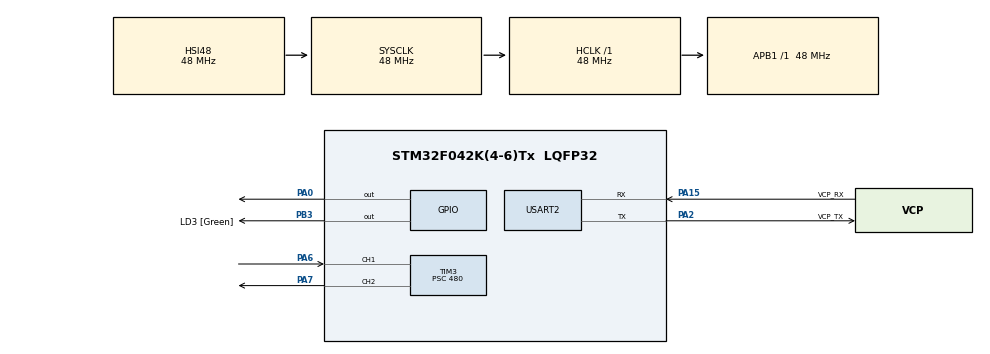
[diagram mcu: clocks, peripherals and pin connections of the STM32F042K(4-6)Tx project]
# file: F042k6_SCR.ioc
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Mcu.Family=STM32F0
Mcu.Name=STM32F042K(4-6)Tx
Mcu.Package=LQFP32
PA0.Signal=GPIO_Output
PA13.GPIO_Label=SWDIO
PA13.Mode=Serial_Wire
PA13.Signal=SYS_SWDIO
PA14.GPIO_Label=SWCLK
PA14.Mode=Serial_Wire
PA14.Signal=SYS_SWCLK
PA15.GPIO_Label=VCP_RX
PA15.Mode=Asynchronous
PA15.Signal=USART2_RX
PA2.GPIO_Label=VCP_TX
PA2.Mode=Asynchronous
PA2.Signal=USART2_TX
PA6.Signal=S_TIM3_CH1
PA7.Signal=S_TIM3_CH2
PB3.GPIO_Label=LD3 [Green]
PB3.Signal=GPIO_Output
PF0-OSC_IN.GPIO_Label=MCO
PF0-OSC_IN.Mode=HSE-External-Clock-Source
PF0-OSC_IN.Signal=RCC_OSC_IN
ProjectManager.HeapSize=0x200
ProjectManager.StackSize=0x400
ProjectManager.TargetToolchain=SW4STM32
RCC.AHBFreq_Value=48000000
RCC.APB1Freq_Value=48000000
RCC.APB1TimFreq_Value=48000000
RCC.HCLKFreq_Value=48000000
RCC.SYSCLKFreq_VALUE=48000000
RCC.SYSCLKSource=RCC_SYSCLKSOURCE_HSI48
SH.S_TIM3_CH1.0=TIM3_CH1,TriggerSource_TI1FP1
SH.S_TIM3_CH2.0=TIM3_CH2,PWM Generation2 CH2
TIM2.Period=1000
TIM2.Prescaler=480
TIM3.Channel-PWM\ Generation2\ CH2=TIM_CHANNEL_2
TIM3.OCPolarity_2=TIM_OCPOLARITY_LOW
TIM3.Period=830
TIM3.Prescaler=480
USART2.VirtualMode-Asynchronous=VM_ASYNC
VP_TIM2_VS_OPM.Mode=OPM_bit
VP_TIM3_VS_ControllerModeTrigger.Mode=Trigger Mode
VP_TIM3_VS_OPM.Mode=OPM_bit
board=NUCLEO-F042K6

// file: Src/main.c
/* USER CODE BEGIN Header */
/**
  ******************************************************************************
  * @file           : main.c
  * @brief          : Main program body
  ******************************************************************************
  * @attention
  *
  * <h2><center>&copy; Copyright (c) 2019 STMicroelectronics.
  * All rights reserved.</center></h2>
  *
  * This software component is licensed by ST under BSD 3-Clause license,
  * the "License"; You may not use this file except in compliance with the
  * License. You may obtain a copy of the License at:
  *                        opensource.org/licenses/BSD-3-Clause
  *
  ******************************************************************************
  */
/* USER CODE END Header */

#include "main.h"

TIM_HandleTypeDef htim2;
TIM_HandleTypeDef htim3;

UART_HandleTypeDef huart2;

void SystemClock_Config(void);
static void MX_GPIO_Init(void);
static void MX_TIM2_Init(void);
static void MX_TIM3_Init(void);
static void MX_USART2_UART_Init(void);

/* USER CODE BEGIN 0 */
int duty=1000;
int direction=1;
/* USER CODE END 0 */

int main(void)
{

  /* MCU Configuration--------------------------------------------------------*/

  /* Reset of all peripherals, Initializes the Flash interface and the Systick. */
	HAL_Init();

  /* Configure the system clock */
  SystemClock_Config();

  /* Initialize all configured peripherals */
  MX_GPIO_Init();
  MX_TIM2_Init();
  MX_TIM3_Init();
  MX_USART2_UART_Init();
  /* USER CODE BEGIN 2 */
  HAL_TIM_Base_Start(&htim3);
  //HAL_TIM_OnePulse_Start(&htim3,TIM_CHANNEL_2);

  HAL_TIM_PWM_Start(&htim3,TIM_CHANNEL_2);
  __HAL_TIM_SET_COMPARE(&htim3,TIM_CHANNEL_2,400);
  /* USER CODE END 2 */

  /* Infinite loop */
  /* USER CODE BEGIN WHILE */
  while (1)
  {
	  HAL_GPIO_WritePin(GPIOA,GPIO_PIN_0,0);
	  HAL_Delay(9);
	  HAL_GPIO_WritePin(GPIOA,GPIO_PIN_0,1);
	  HAL_Delay(0);
	  __HAL_TIM_SET_COMPARE(&htim3,TIM_CHANNEL_2,duty);

	  if(direction==1){
		  duty=duty+5;
	  }
	  else if(direction==0){
		  duty=duty-5;
	  }
	  if(duty>1000){direction=0;}
	  else if(duty<20){
		  direction=1;
	  }

    /* USER CODE END WHILE */

  }
}

void SystemClock_Config(void)
{
  RCC_OscInitTypeDef RCC_OscInitStruct = {0};
  RCC_ClkInitTypeDef RCC_ClkInitStruct = {0};

  /** Initializes the CPU, AHB and APB busses clocks
  */
  RCC_OscInitStruct.OscillatorType = RCC_OSCILLATORTYPE_HSI48;
  RCC_OscInitStruct.HSI48State = RCC_HSI48_ON;
  RCC_OscInitStruct.PLL.PLLState = RCC_PLL_NONE;
  if (HAL_RCC_OscConfig(&RCC_OscInitStruct) != HAL_OK)
  {
    Error_Handler();
  }
  /** Initializes the CPU, AHB and APB busses clocks
  */
  RCC_ClkInitStruct.ClockType = RCC_CLOCKTYPE_HCLK|RCC_CLOCKTYPE_SYSCLK
                              |RCC_CLOCKTYPE_PCLK1;
  RCC_ClkInitStruct.SYSCLKSource = RCC_SYSCLKSOURCE_HSI48;
  RCC_ClkInitStruct.AHBCLKDivider = RCC_SYSCLK_DIV1;
  RCC_ClkInitStruct.APB1CLKDivider = RCC_HCLK_DIV1;

  if (HAL_RCC_ClockConfig(&RCC_ClkInitStruct, FLASH_LATENCY_1) != HAL_OK)
  {
    Error_Handler();
  }
}

static void MX_TIM2_Init(void)
{

  htim2.Instance = TIM2;
  htim2.Init.Prescaler = 480;
  htim2.Init.CounterMode = TIM_COUNTERMODE_UP;
  htim2.Init.Period = 1000;
  htim2.Init.ClockDivision = TIM_CLOCKDIVISION_DIV1;
  htim2.Init.AutoReloadPreload = TIM_AUTORELOAD_PRELOAD_DISABLE;
  if (HAL_TIM_OnePulse_Init(&htim2, TIM_OPMODE_SINGLE) != HAL_OK)
  {
    Error_Handler();
  }

}

static void MX_TIM3_Init(void)
{

  TIM_SlaveConfigTypeDef sSlaveConfig = {0};
  TIM_MasterConfigTypeDef sMasterConfig = {0};
  TIM_OC_InitTypeDef sConfigOC = {0};

  htim3.Instance = TIM3;
  htim3.Init.Prescaler = 480;
  htim3.Init.CounterMode = TIM_COUNTERMODE_UP;
  htim3.Init.Period = 830;
  htim3.Init.ClockDivision = TIM_CLOCKDIVISION_DIV1;
  htim3.Init.AutoReloadPreload = TIM_AUTORELOAD_PRELOAD_DISABLE;
  if (HAL_TIM_Base_Init(&htim3) != HAL_OK)
  {
    Error_Handler();
  }
  if (HAL_TIM_PWM_Init(&htim3) != HAL_OK)
  {
    Error_Handler();
  }
  if (HAL_TIM_OnePulse_Init(&htim3, TIM_OPMODE_SINGLE) != HAL_OK)
  {
    Error_Handler();
  }
  sSlaveConfig.SlaveMode = TIM_SLAVEMODE_TRIGGER;
  sSlaveConfig.InputTrigger = TIM_TS_TI1FP1;
  sSlaveConfig.TriggerPolarity = TIM_TRIGGERPOLARITY_RISING;
  sSlaveConfig.TriggerFilter = 0;
  if (HAL_TIM_SlaveConfigSynchronization(&htim3, &sSlaveConfig) != HAL_OK)
  {
    Error_Handler();
  }
  sMasterConfig.MasterOutputTrigger = TIM_TRGO_RESET;
  sMasterConfig.MasterSlaveMode = TIM_MASTERSLAVEMODE_DISABLE;
  if (HAL_TIMEx_MasterConfigSynchronization(&htim3, &sMasterConfig) != HAL_OK)
  {
    Error_Handler();
  }
  sConfigOC.OCMode = TIM_OCMODE_PWM1;
  sConfigOC.Pulse = 0;
  sConfigOC.OCPolarity = TIM_OCPOLARITY_LOW;
  sConfigOC.OCFastMode = TIM_OCFAST_DISABLE;
  if (HAL_TIM_PWM_ConfigChannel(&htim3, &sConfigOC, TIM_CHANNEL_2) != HAL_OK)
  {
    Error_Handler();
  }
  HAL_TIM_MspPostInit(&htim3);

}

static void MX_USART2_UART_Init(void)
{

  huart2.Instance = USART2;
  huart2.Init.BaudRate = 38400;
  huart2.Init.WordLength = UART_WORDLENGTH_8B;
  huart2.Init.StopBits = UART_STOPBITS_1;
  huart2.Init.Parity = UART_PARITY_NONE;
  huart2.Init.Mode = UART_MODE_TX_RX;
  huart2.Init.HwFlowCtl = UART_HWCONTROL_NONE;
  huart2.Init.OverSampling = UART_OVERSAMPLING_16;
  huart2.Init.OneBitSampling = UART_ONE_BIT_SAMPLE_DISABLE;
  huart2.AdvancedInit.AdvFeatureInit = UART_ADVFEATURE_NO_INIT;
  if (HAL_UART_Init(&huart2) != HAL_OK)
  {
    Error_Handler();
  }

}

static void MX_GPIO_Init(void)
{
  GPIO_InitTypeDef GPIO_InitStruct = {0};

  /* GPIO Ports Clock Enable */
  __HAL_RCC_GPIOF_CLK_ENABLE();
  __HAL_RCC_GPIOA_CLK_ENABLE();
  __HAL_RCC_GPIOB_CLK_ENABLE();

  /*Configure GPIO pin Output Level */
  HAL_GPIO_WritePin(GPIOA, GPIO_PIN_0, GPIO_PIN_RESET);

  /*Configure GPIO pin Output Level */
  HAL_GPIO_WritePin(LD3_GPIO_Port, LD3_Pin, GPIO_PIN_RESET);

  /*Configure GPIO pin : PA0 */
  GPIO_InitStruct.Pin = GPIO_PIN_0;
  GPIO_InitStruct.Mode = GPIO_MODE_OUTPUT_PP;
  GPIO_InitStruct.Pull = GPIO_NOPULL;
  GPIO_InitStruct.Speed = GPIO_SPEED_FREQ_LOW;
  HAL_GPIO_Init(GPIOA, &GPIO_InitStruct);

  /*Configure GPIO pin : LD3_Pin */
  GPIO_InitStruct.Pin = LD3_Pin;
  GPIO_InitStruct.Mode = GPIO_MODE_OUTPUT_PP;
  GPIO_InitStruct.Pull = GPIO_NOPULL;
  GPIO_InitStruct.Speed = GPIO_SPEED_FREQ_LOW;
  HAL_GPIO_Init(LD3_GPIO_Port, &GPIO_InitStruct);

}

void Error_Handler(void)
{
}

/************************ (C) COPYRIGHT STMicroelectronics *****END OF FILE****/
